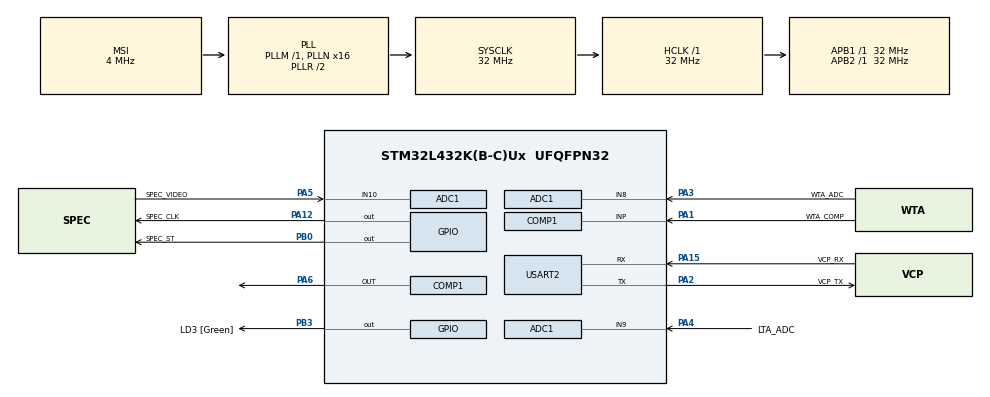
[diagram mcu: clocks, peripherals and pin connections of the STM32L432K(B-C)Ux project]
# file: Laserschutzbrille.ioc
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ADC1.Channel-0\#ChannelRegularConversion=ADC_CHANNEL_8
ADC1.Channel-4\#ChannelRegularConversion=ADC_CHANNEL_9
ADC1.Channel-5\#ChannelRegularConversion=ADC_CHANNEL_10
ADC1.ClockPrescaler=ADC_CLOCK_ASYNC_DIV4
ADC1.ContinuousConvMode=ENABLE
ADC1.NbrOfConversion=3
ADC1.NbrOfConversionFlag=1
ADC1.OffsetNumber-0\#ChannelRegularConversion=ADC_OFFSET_NONE
ADC1.OffsetNumber-4\#ChannelRegularConversion=ADC_OFFSET_NONE
ADC1.OffsetNumber-5\#ChannelRegularConversion=ADC_OFFSET_NONE
ADC1.OversamplingMode=DISABLE
ADC1.Rank-0\#ChannelRegularConversion=1
ADC1.Rank-4\#ChannelRegularConversion=2
ADC1.Rank-5\#ChannelRegularConversion=3
ADC1.Resolution=ADC_RESOLUTION_12B
ADC1.SamplingTime-0\#ChannelRegularConversion=ADC_SAMPLETIME_640CYCLES_5
ADC1.SamplingTime-4\#ChannelRegularConversion=ADC_SAMPLETIME_640CYCLES_5
ADC1.SamplingTime-5\#ChannelRegularConversion=ADC_SAMPLETIME_640CYCLES_5
ADC1.master=1
COMP1.Hysteresis=COMP_HYSTERESIS_LOW
COMP1.Mode=COMP_POWERMODE_MEDIUMSPEED
COMP1.TriggerMode=COMP_TRIGGERMODE_IT_RISING
Dma.ADC1.0.Direction=DMA_PERIPH_TO_MEMORY
Dma.ADC1.0.Instance=DMA1_Channel1
Dma.ADC1.0.MemDataAlignment=DMA_MDATAALIGN_WORD
Dma.ADC1.0.MemInc=DMA_MINC_ENABLE
Dma.ADC1.0.Mode=DMA_NORMAL
Dma.ADC1.0.PeriphDataAlignment=DMA_PDATAALIGN_WORD
Dma.ADC1.0.PeriphInc=DMA_PINC_DISABLE
Dma.ADC1.0.Priority=DMA_PRIORITY_LOW
Dma.Request0=ADC1
Mcu.Family=STM32L4
Mcu.Name=STM32L432K(B-C)Ux
Mcu.Package=UFQFPN32
NVIC.COMP_IRQn=true\:0\:0\:false\:false\:true\:false\:true\:true
NVIC.DMA1_Channel1_IRQn=true\:0\:0\:false\:false\:true\:false\:true\:true
NVIC.PriorityGroup=NVIC_PRIORITYGROUP_4
PA0.GPIO_Label=MCO [High speed clock in]
PA0.Mode=HSE-External-Clock-Source-for-LittleOrca
PA0.Signal=RCC_CK_IN
PA1.GPIO_Label=WTA_COMP
PA1.Mode=INP
PA1.Signal=COMP1_INP
PA12.GPIO_Label=SPEC_CLK
PA12.Signal=GPIO_Output
PA13\ (JTMS-SWDIO).GPIO_Label=SWDIO
PA13\ (JTMS-SWDIO).Mode=Serial_Wire
PA13\ (JTMS-SWDIO).Signal=SYS_JTMS-SWDIO
PA14\ (JTCK-SWCLK).GPIO_Label=SWCLK
PA14\ (JTCK-SWCLK).Mode=Serial_Wire
PA14\ (JTCK-SWCLK).Signal=SYS_JTCK-SWCLK
PA15\ (JTDI).GPIO_Label=VCP_RX
PA15\ (JTDI).Mode=Asynchronous
PA15\ (JTDI).Signal=USART2_RX
PA2.GPIO_Label=VCP_TX
PA2.Mode=Asynchronous
PA2.Signal=USART2_TX
PA3.GPIO_Label=WTA_ADC
PA3.GPIO_PuPd=GPIO_NOPULL
PA3.Signal=ADCx_IN8
PA4.GPIO_Label=LTA_ADC
PA4.GPIO_PuPd=GPIO_NOPULL
PA4.Signal=ADCx_IN9
PA5.GPIO_Label=SPEC_VIDEO
PA5.Signal=ADCx_IN10
PA6.Mode=ExternalOutput
PA6.Signal=COMP1_OUT
PB0.GPIO_Label=SPEC_ST
PB0.Signal=GPIO_Output
PB3\ (JTDO-TRACESWO).GPIO_Label=LD3 [Green]
PB3\ (JTDO-TRACESWO).Signal=GPIO_Output
PC14-OSC32_IN\ (PC14).Mode=LSE-External-Oscillator
PC14-OSC32_IN\ (PC14).Signal=RCC_OSC32_IN
PC15-OSC32_OUT\ (PC15).Mode=LSE-External-Oscillator
PC15-OSC32_OUT\ (PC15).Signal=RCC_OSC32_OUT
ProjectManager.HeapSize=0x200
ProjectManager.StackSize=0x400
ProjectManager.TargetToolchain=STM32CubeIDE
RCC.ADCFreq_Value=32000000
RCC.AHBFreq_Value=32000000
RCC.APB1Freq_Value=32000000
RCC.APB1TimFreq_Value=32000000
RCC.APB2Freq_Value=32000000
RCC.APB2TimFreq_Value=32000000
RCC.CortexFreq_Value=32000000
RCC.HCLKFreq_Value=32000000
RCC.HSE_VALUE=8000000
RCC.HSI16_VALUE=16000000
RCC.HSI48_VALUE=48000000
RCC.HSI_VALUE=16000000
RCC.MSI_VALUE=4000000
RCC.PLLMUL=RCC_PLLMUL_4
RCC.PLLN=16
RCC.PLLSAI1N=16
RCC.SYSCLKFreq_VALUE=32000000
RCC.SYSCLKSource=RCC_SYSCLKSOURCE_PLLCLK
RCC.USBFreq_Value=32000000
RCC.VCOOutputFreq_Value=64000000
SH.ADCx_IN10.0=ADC1_IN10,IN10-Single-Ended
SH.ADCx_IN8.0=ADC1_IN8,IN8-Single-Ended
SH.ADCx_IN9.0=ADC1_IN9,IN9-Single-Ended
TIM6.Period=0xffff-1
TIM6.Prescaler=32-1
TIM7.Period=0xffff-1
TIM7.Prescaler=32-1
USART2.VirtualMode-Asynchronous=VM_ASYNC
VP_COMP1_VS_DACOUT1.Mode=INM_DACOUT1
VP_DAC1_VS_DACI1.Mode=DAC_OUT1_Int
VP_TIM6_VS_ClockSourceINT.Mode=Enable_Timer
VP_TIM7_VS_ClockSourceINT.Mode=Enable_Timer
board=NUCLEO-L432KC

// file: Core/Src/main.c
/* USER CODE BEGIN Header */
/**
 ******************************************************************************
 * @file           : main.c
 * @brief          : Main program body
 ******************************************************************************
 * @attention
 *
 * Copyright (c) 2022 STMicroelectronics.
 * All rights reserved.
 *
 * This software is licensed under terms that can be found in the LICENSE file
 * in the root directory of this software component.
 * If no LICENSE file comes with this software, it is provided AS-IS.
 *
 ******************************************************************************
 */
/* USER CODE END Header */
#include "main.h"

/* USER CODE BEGIN Includes */
#include <stdio.h>
/* USER CODE END Includes */

 ADC_HandleTypeDef hadc1;
DMA_HandleTypeDef hdma_adc1;

COMP_HandleTypeDef hcomp1;

DAC_HandleTypeDef hdac1;

TIM_HandleTypeDef htim6;
TIM_HandleTypeDef htim7;

UART_HandleTypeDef huart2;

void SystemClock_Config(void);
static void MX_GPIO_Init(void);
static void MX_USART2_UART_Init(void);
static void MX_DMA_Init(void);
static void MX_ADC1_Init(void);
static void MX_TIM6_Init(void);
static void MX_COMP1_Init(void);
static void MX_DAC1_Init(void);
static void MX_TIM7_Init(void);
/* USER CODE BEGIN PFP */
#ifdef __GNUC__
#define PUTCHAR_PROTOTYPE int __io_putchar(int ch)
#else
#define PUTCHAR_PROTOTYPE int fputc(int ch, FILE *f)
#endif /* __GNUC__ */

/* USER CODE END PFP */

/* USER CODE BEGIN 0 */
PUTCHAR_PROTOTYPE
{
	HAL_UART_Transmit(&huart2, (uint8_t *) &ch, 1, 0xFFFF);
	return ch;
}

/* Level Detektion */

/* Photodiodes */

float E_WTA;
float E_LTA;

void readDiodes (void)
{
	//Define Photodiode Constants
	const double Aph = 2.1576e-6; //Photiodenfläche m^2
	const double Rph = 0.34; //Bei 532nm in A/W
	const double RT = 47e3; //Transimpedanz Verstärkeungsfaktor in Ohm
	//Define Working Variables
	uint32_t raw_val;
	double U_val;
	double I_val;
	double P_val;
	double E_val;
	uint32_t adc_raw[3];
	HAL_ADC_Start_DMA(&hadc1, adc_raw, 3); // start adc in DMA mode
	HAL_Delay(1);
	HAL_ADC_Stop_DMA(&hadc1); // stop adc in DMA mode
	//Get ADC LTA
	raw_val = adc_raw[0];
	U_val = raw_val * 3.35;
	U_val /= 4096;
	printf("<LTA>,%fV,",U_val);
	I_val = U_val/RT;
	printf("%fuA,",I_val*1e6);
	P_val = I_val / Rph;
	printf("%fuW,",P_val*1e6);
	E_val = P_val / Aph;
	E_LTA = E_val;
	printf("%fW/m2,",E_val);
	printf("%lu\n\r",raw_val);
	//Get ADC WTA
	raw_val = adc_raw[1];
	U_val = raw_val * 3.35;
	U_val /= 4096;
	printf("<WTA>,%fV,",U_val);
	I_val = U_val/RT;
	printf("%fuA,",I_val*1e6);
	P_val = I_val / Rph;
	printf("%fuW,",P_val*1e6);
	E_val = P_val / Aph;
	E_WTA = E_val;
	printf("%fW/m2,",E_val);
	printf("%lu\n\r",raw_val);
}

/* Spectrometer Hamatsu CA1288... */

#define SPEC_CHANNELS    288 // New Spec Channel
uint32_t spec_data[SPEC_CHANNELS];

#define int_time_per_clock 4 //Extra integration Time Per integration clock in us
#define min_int_time 195 //us
#define ctrl_p_stepsize 1.5 //Correction of 10 clock cycles per differenz
uint32_t delayTime = 1; // delay time in us for CLK
uint32_t int_clock_cycles = 0; // Variabel integration CLock Cycles
uint32_t integration_time_us = 0; // Measured Integration Time

void delay_us (uint16_t us)
{
	__HAL_TIM_SET_COUNTER(&htim6,0);  // set the counter value a 0
	while (__HAL_TIM_GET_COUNTER(&htim6) < us);  // wait for the counter to reach the us input in the parameter
}

void spec_pulse_clock(uint16_t pulses) {
  for (uint16_t i = 0; i < pulses; i++)
  {
	  HAL_GPIO_WritePin(SPEC_CLK_GPIO_Port, SPEC_CLK_Pin, GPIO_PIN_SET);
	  delay_us(delayTime);
	  HAL_GPIO_WritePin(SPEC_CLK_GPIO_Port, SPEC_CLK_Pin, GPIO_PIN_RESET);
	  //delay_us(delayTime);
  }
}

/*
 * This functions optimizes the intgration time for the spec
*/
void set_int_cycles_Spectrometer(){
	//static uint32_t last_cycles;
	//Get Maximum and average of spectrum
	static uint32_t avg,max;
	max = 0;
	avg = 0;
	for (int i = 0; i < SPEC_CHANNELS; ++i) {
		avg += spec_data[i];
		if(spec_data[i] > max){
			max = spec_data[i];
		}
	}
	avg /= SPEC_CHANNELS;
	//Adjust according to max value should be in Range of 1500 till 2500
	if ((max > 2500)) {
		if ((int_clock_cycles - ctrl_p_stepsize*(max-2500)) < 0) {
			int_clock_cycles -= 10;
		} else {
			int_clock_cycles -= ctrl_p_stepsize*(max-2500);
		}
	} else if ((max < 1500)) {
		int_clock_cycles += ctrl_p_stepsize*(1500-max);
	}
}

/*
 * This functions reads spectrometer data from SPEC_VIDEO
 * Look at the Timing Chart in the Datasheet for more info
*/
void readSpectrometer(){
  // Start clock cycle and set start pulse to signal start
  spec_pulse_clock(1);
  HAL_GPIO_WritePin(SPEC_ST_GPIO_Port, SPEC_ST_Pin, GPIO_PIN_SET);
  //pixel integration starts after three clock pulses
  spec_pulse_clock(3);
  //measure effective integration time
  __HAL_TIM_SET_COUNTER(&htim7,0);
  //Integrate pixels for a while
  //pulse_clock_timed(duration_micros);
  spec_pulse_clock(int_clock_cycles);
  //Set _ST_pin to low
  HAL_GPIO_WritePin(SPEC_ST_GPIO_Port, SPEC_ST_Pin, GPIO_PIN_RESET);
  //integration stops at pulse 48 th pulse after ST went low
  spec_pulse_clock(48);
  //stop measure eff intg time
  integration_time_us = __HAL_TIM_GET_COUNTER(&htim7);
  //pixel output is ready after last pulse #88 after ST wen low
  spec_pulse_clock(40);
  //Read out the first sample to throw it away (high impedance input)
  //data[0] = szl_adc_readOneChannel(SPEC_VIDEO);
  //Read from SPEC_VIDEO
  uint32_t adc_raw[3];
  for(int i = 0; i < SPEC_CHANNELS; i++){
	HAL_ADC_Start_DMA(&hadc1, adc_raw, 3); // start adc in DMA mode
	HAL_Delay(1);
	HAL_ADC_Stop_DMA(&hadc1); // start adc in DMA mode
    spec_data[i] = adc_raw[2];
    spec_pulse_clock(1);
  }
}

/*
 * The function below prints out data to the terminal or
 * processing plot
*/
void printSpectrometerData(){

  printf("<data>,");
  for (int i = 0; i < SPEC_CHANNELS; i++){
    printf("%lu,",spec_data[i]);
  }
  printf("\n\r");
  printf("<int_time_us>,%lu\n\r",integration_time_us);
}

/* USER CODE END 0 */

int main(void)
{

  /* MCU Configuration--------------------------------------------------------*/

  /* Reset of all peripherals, Initializes the Flash interface and the Systick. */
  HAL_Init();

  /* Configure the system clock */
  SystemClock_Config();

  /* Initialize all configured peripherals */
  MX_GPIO_Init();
  MX_USART2_UART_Init();
  MX_DMA_Init();
  MX_ADC1_Init();
  MX_TIM6_Init();
  MX_COMP1_Init();
  MX_DAC1_Init();
  MX_TIM7_Init();

  /* Infinite loop */
  /* USER CODE BEGIN WHILE */
  //Start Timer
  HAL_TIM_Base_Start(&htim6);
  HAL_TIM_Base_Start(&htim7);
  //Start Comparator
  HAL_COMP_Start(&hcomp1);
  //Start Comparator
	while (1) {
		//Blink LED
		HAL_GPIO_WritePin(LD3_GPIO_Port, LD3_Pin, GPIO_PIN_SET);
		HAL_Delay(250);
		HAL_GPIO_WritePin(LD3_GPIO_Port, LD3_Pin, GPIO_PIN_RESET);
		HAL_Delay(250);

		//Update

		//Read Spectrometer
		readSpectrometer();
		//Read Diodes
		readDiodes();
		printSpectrometerData();
		set_int_cycles_Spectrometer();

    /* USER CODE END WHILE */

	}
}

void SystemClock_Config(void)
{
  RCC_OscInitTypeDef RCC_OscInitStruct = {0};
  RCC_ClkInitTypeDef RCC_ClkInitStruct = {0};

  /** Configure the main internal regulator output voltage
  */
  if (HAL_PWREx_ControlVoltageScaling(PWR_REGULATOR_VOLTAGE_SCALE1) != HAL_OK)
  {
    Error_Handler();
  }

  /** Configure LSE Drive Capability
  */
  HAL_PWR_EnableBkUpAccess();
  __HAL_RCC_LSEDRIVE_CONFIG(RCC_LSEDRIVE_LOW);

  /** Initializes the RCC Oscillators according to the specified parameters
  * in the RCC_OscInitTypeDef structure.
  */
  RCC_OscInitStruct.OscillatorType = RCC_OSCILLATORTYPE_LSE|RCC_OSCILLATORTYPE_MSI;
  RCC_OscInitStruct.LSEState = RCC_LSE_ON;
  RCC_OscInitStruct.MSIState = RCC_MSI_ON;
  RCC_OscInitStruct.MSICalibrationValue = 0;
  RCC_OscInitStruct.MSIClockRange = RCC_MSIRANGE_6;
  RCC_OscInitStruct.PLL.PLLState = RCC_PLL_ON;
  RCC_OscInitStruct.PLL.PLLSource = RCC_PLLSOURCE_MSI;
  RCC_OscInitStruct.PLL.PLLM = 1;
  RCC_OscInitStruct.PLL.PLLN = 16;
  RCC_OscInitStruct.PLL.PLLP = RCC_PLLP_DIV7;
  RCC_OscInitStruct.PLL.PLLQ = RCC_PLLQ_DIV2;
  RCC_OscInitStruct.PLL.PLLR = RCC_PLLR_DIV2;
  if (HAL_RCC_OscConfig(&RCC_OscInitStruct) != HAL_OK)
  {
    Error_Handler();
  }

  /** Initializes the CPU, AHB and APB buses clocks
  */
  RCC_ClkInitStruct.ClockType = RCC_CLOCKTYPE_HCLK|RCC_CLOCKTYPE_SYSCLK
                              |RCC_CLOCKTYPE_PCLK1|RCC_CLOCKTYPE_PCLK2;
  RCC_ClkInitStruct.SYSCLKSource = RCC_SYSCLKSOURCE_PLLCLK;
  RCC_ClkInitStruct.AHBCLKDivider = RCC_SYSCLK_DIV1;
  RCC_ClkInitStruct.APB1CLKDivider = RCC_HCLK_DIV1;
  RCC_ClkInitStruct.APB2CLKDivider = RCC_HCLK_DIV1;

  if (HAL_RCC_ClockConfig(&RCC_ClkInitStruct, FLASH_LATENCY_1) != HAL_OK)
  {
    Error_Handler();
  }

  /** Enable MSI Auto calibration
  */
  HAL_RCCEx_EnableMSIPLLMode();
}

static void MX_ADC1_Init(void)
{

  ADC_ChannelConfTypeDef sConfig = {0};

  /** Common config
  */
  hadc1.Instance = ADC1;
  hadc1.Init.ClockPrescaler = ADC_CLOCK_ASYNC_DIV4;
  hadc1.Init.Resolution = ADC_RESOLUTION_12B;
  hadc1.Init.DataAlign = ADC_DATAALIGN_RIGHT;
  hadc1.Init.ScanConvMode = ADC_SCAN_ENABLE;
  hadc1.Init.EOCSelection = ADC_EOC_SINGLE_CONV;
  hadc1.Init.LowPowerAutoWait = DISABLE;
  hadc1.Init.ContinuousConvMode = ENABLE;
  hadc1.Init.NbrOfConversion = 3;
  hadc1.Init.DiscontinuousConvMode = DISABLE;
  hadc1.Init.ExternalTrigConv = ADC_SOFTWARE_START;
  hadc1.Init.ExternalTrigConvEdge = ADC_EXTERNALTRIGCONVEDGE_NONE;
  hadc1.Init.DMAContinuousRequests = DISABLE;
  hadc1.Init.Overrun = ADC_OVR_DATA_PRESERVED;
  hadc1.Init.OversamplingMode = DISABLE;
  if (HAL_ADC_Init(&hadc1) != HAL_OK)
  {
    Error_Handler();
  }

  /** Configure Regular Channel
  */
  sConfig.Channel = ADC_CHANNEL_8;
  sConfig.Rank = ADC_REGULAR_RANK_1;
  sConfig.SamplingTime = ADC_SAMPLETIME_640CYCLES_5;
  sConfig.SingleDiff = ADC_SINGLE_ENDED;
  sConfig.OffsetNumber = ADC_OFFSET_NONE;
  sConfig.Offset = 0;
  if (HAL_ADC_ConfigChannel(&hadc1, &sConfig) != HAL_OK)
  {
    Error_Handler();
  }

  /** Configure Regular Channel
  */
  sConfig.Channel = ADC_CHANNEL_9;
  sConfig.Rank = ADC_REGULAR_RANK_2;
  if (HAL_ADC_ConfigChannel(&hadc1, &sConfig) != HAL_OK)
  {
    Error_Handler();
  }

  /** Configure Regular Channel
  */
  sConfig.Channel = ADC_CHANNEL_10;
  sConfig.Rank = ADC_REGULAR_RANK_3;
  if (HAL_ADC_ConfigChannel(&hadc1, &sConfig) != HAL_OK)
  {
    Error_Handler();
  }
  /* USER CODE BEGIN ADC1_Init 2 */

  HAL_ADCEx_Calibration_Start(&hadc1, ADC_SINGLE_ENDED);

  /* USER CODE END ADC1_Init 2 */

}

static void MX_COMP1_Init(void)
{

  hcomp1.Instance = COMP1;
  hcomp1.Init.InvertingInput = COMP_INPUT_MINUS_DAC1_CH1;
  hcomp1.Init.NonInvertingInput = COMP_INPUT_PLUS_IO3;
  hcomp1.Init.OutputPol = COMP_OUTPUTPOL_NONINVERTED;
  hcomp1.Init.Hysteresis = COMP_HYSTERESIS_LOW;
  hcomp1.Init.BlankingSrce = COMP_BLANKINGSRC_NONE;
  hcomp1.Init.Mode = COMP_POWERMODE_MEDIUMSPEED;
  hcomp1.Init.WindowMode = COMP_WINDOWMODE_DISABLE;
  hcomp1.Init.TriggerMode = COMP_TRIGGERMODE_IT_RISING;
  if (HAL_COMP_Init(&hcomp1) != HAL_OK)
  {
    Error_Handler();
  }

}

static void MX_DAC1_Init(void)
{

  DAC_ChannelConfTypeDef sConfig = {0};

  /** DAC Initialization
  */
  hdac1.Instance = DAC1;
  if (HAL_DAC_Init(&hdac1) != HAL_OK)
  {
    Error_Handler();
  }

  /** DAC channel OUT1 config
  */
  sConfig.DAC_SampleAndHold = DAC_SAMPLEANDHOLD_DISABLE;
  sConfig.DAC_Trigger = DAC_TRIGGER_NONE;
  sConfig.DAC_OutputBuffer = DAC_OUTPUTBUFFER_DISABLE;
  sConfig.DAC_ConnectOnChipPeripheral = DAC_CHIPCONNECT_ENABLE;
  sConfig.DAC_UserTrimming = DAC_TRIMMING_FACTORY;
  if (HAL_DAC_ConfigChannel(&hdac1, &sConfig, DAC_CHANNEL_1) != HAL_OK)
  {
    Error_Handler();
  }

}

static void MX_TIM6_Init(void)
{

  TIM_MasterConfigTypeDef sMasterConfig = {0};

  htim6.Instance = TIM6;
  htim6.Init.Prescaler = 32-1;
  htim6.Init.CounterMode = TIM_COUNTERMODE_UP;
  htim6.Init.Period = 0xffff-1;
  htim6.Init.AutoReloadPreload = TIM_AUTORELOAD_PRELOAD_DISABLE;
  if (HAL_TIM_Base_Init(&htim6) != HAL_OK)
  {
    Error_Handler();
  }
  sMasterConfig.MasterOutputTrigger = TIM_TRGO_RESET;
  sMasterConfig.MasterSlaveMode = TIM_MASTERSLAVEMODE_DISABLE;
  if (HAL_TIMEx_MasterConfigSynchronization(&htim6, &sMasterConfig) != HAL_OK)
  {
    Error_Handler();
  }

}

static void MX_TIM7_Init(void)
{

  TIM_MasterConfigTypeDef sMasterConfig = {0};

  htim7.Instance = TIM7;
  htim7.Init.Prescaler = 32-1;
  htim7.Init.CounterMode = TIM_COUNTERMODE_UP;
  htim7.Init.Period = 0xffff-1;
  htim7.Init.AutoReloadPreload = TIM_AUTORELOAD_PRELOAD_DISABLE;
  if (HAL_TIM_Base_Init(&htim7) != HAL_OK)
  {
    Error_Handler();
  }
  sMasterConfig.MasterOutputTrigger = TIM_TRGO_RESET;
  sMasterConfig.MasterSlaveMode = TIM_MASTERSLAVEMODE_DISABLE;
  if (HAL_TIMEx_MasterConfigSynchronization(&htim7, &sMasterConfig) != HAL_OK)
  {
    Error_Handler();
  }

}

static void MX_USART2_UART_Init(void)
{

  huart2.Instance = USART2;
  huart2.Init.BaudRate = 115200;
  huart2.Init.WordLength = UART_WORDLENGTH_8B;
  huart2.Init.StopBits = UART_STOPBITS_1;
  huart2.Init.Parity = UART_PARITY_NONE;
  huart2.Init.Mode = UART_MODE_TX_RX;
  huart2.Init.HwFlowCtl = UART_HWCONTROL_NONE;
  huart2.Init.OverSampling = UART_OVERSAMPLING_16;
  huart2.Init.OneBitSampling = UART_ONE_BIT_SAMPLE_DISABLE;
  huart2.AdvancedInit.AdvFeatureInit = UART_ADVFEATURE_NO_INIT;
  if (HAL_UART_Init(&huart2) != HAL_OK)
  {
    Error_Handler();
  }

}

static void MX_DMA_Init(void)
{

  /* DMA controller clock enable */
  __HAL_RCC_DMA1_CLK_ENABLE();

  /* DMA interrupt init */
  /* DMA1_Channel1_IRQn interrupt configuration */
  HAL_NVIC_SetPriority(DMA1_Channel1_IRQn, 0, 0);
  HAL_NVIC_EnableIRQ(DMA1_Channel1_IRQn);

}

static void MX_GPIO_Init(void)
{
  GPIO_InitTypeDef GPIO_InitStruct = {0};

  /* GPIO Ports Clock Enable */
  __HAL_RCC_GPIOC_CLK_ENABLE();
  __HAL_RCC_GPIOA_CLK_ENABLE();
  __HAL_RCC_GPIOB_CLK_ENABLE();

  /*Configure GPIO pin Output Level */
  HAL_GPIO_WritePin(GPIOB, SPEC_ST_Pin|LD3_Pin, GPIO_PIN_RESET);

  /*Configure GPIO pin Output Level */
  HAL_GPIO_WritePin(SPEC_CLK_GPIO_Port, SPEC_CLK_Pin, GPIO_PIN_RESET);

  /*Configure GPIO pins : SPEC_ST_Pin LD3_Pin */
  GPIO_InitStruct.Pin = SPEC_ST_Pin|LD3_Pin;
  GPIO_InitStruct.Mode = GPIO_MODE_OUTPUT_PP;
  GPIO_InitStruct.Pull = GPIO_NOPULL;
  GPIO_InitStruct.Speed = GPIO_SPEED_FREQ_LOW;
  HAL_GPIO_Init(GPIOB, &GPIO_InitStruct);

  /*Configure GPIO pin : SPEC_CLK_Pin */
  GPIO_InitStruct.Pin = SPEC_CLK_Pin;
  GPIO_InitStruct.Mode = GPIO_MODE_OUTPUT_PP;
  GPIO_InitStruct.Pull = GPIO_NOPULL;
  GPIO_InitStruct.Speed = GPIO_SPEED_FREQ_LOW;
  HAL_GPIO_Init(SPEC_CLK_GPIO_Port, &GPIO_InitStruct);

}

void Error_Handler(void)
{
	__disable_irq();
	while (1) {
	}
}
